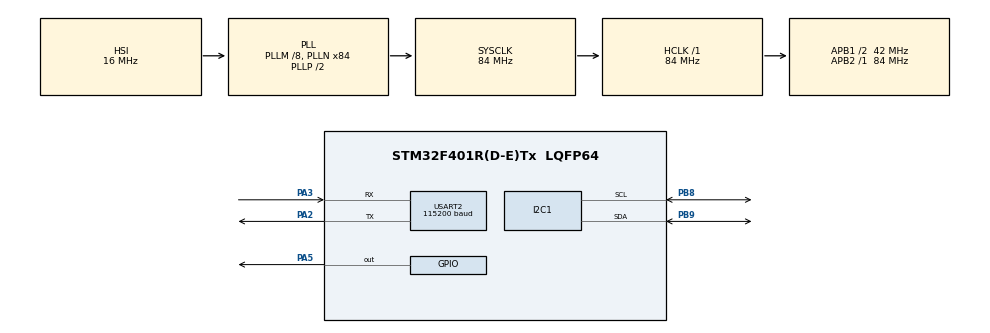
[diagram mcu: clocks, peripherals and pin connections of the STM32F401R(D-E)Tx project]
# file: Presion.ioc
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Mcu.Family=STM32F4
Mcu.Name=STM32F401R(D-E)Tx
Mcu.Package=LQFP64
NVIC.PriorityGroup=NVIC_PRIORITYGROUP_4
PA2.Mode=Asynchronous
PA2.Signal=USART2_TX
PA3.Mode=Asynchronous
PA3.Signal=USART2_RX
PA5.Signal=GPIO_Output
PB8.Mode=I2C
PB8.Signal=I2C1_SCL
PB9.Mode=I2C
PB9.Signal=I2C1_SDA
PC14-OSC32_IN.Mode=LSE-External-Oscillator
PC14-OSC32_IN.Signal=RCC_OSC32_IN
PC15-OSC32_OUT.Mode=LSE-External-Oscillator
PC15-OSC32_OUT.Signal=RCC_OSC32_OUT
PH0\ -\ OSC_IN.Mode=HSE-External-Clock-Source
PH0\ -\ OSC_IN.Signal=RCC_OSC_IN
PH1\ -\ OSC_OUT.Mode=HSE-External-Clock-Source
PH1\ -\ OSC_OUT.Signal=RCC_OSC_OUT
ProjectManager.HeapSize=0x200
ProjectManager.StackSize=0x400
ProjectManager.TargetToolchain=STM32CubeIDE
RCC.48MHZClocksFreq_Value=42000000
RCC.AHBFreq_Value=84000000
RCC.APB1CLKDivider=RCC_HCLK_DIV2
RCC.APB1Freq_Value=42000000
RCC.APB1TimFreq_Value=84000000
RCC.APB2Freq_Value=84000000
RCC.APB2TimFreq_Value=84000000
RCC.CortexFreq_Value=84000000
RCC.HCLKFreq_Value=84000000
RCC.HSE_VALUE=25000000
RCC.HSI_VALUE=16000000
RCC.PLLM=8
RCC.PLLN=84
RCC.SYSCLKFreq_VALUE=84000000
RCC.SYSCLKSource=RCC_SYSCLKSOURCE_PLLCLK
RCC.VCOOutputFreq_Value=168000000
USART2.BaudRate=115200
USART2.VirtualMode=VM_ASYNC
board=custom

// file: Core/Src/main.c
/* USER CODE BEGIN Header */
/**
  ******************************************************************************
  * @file           : main.c
  * @brief          : Main program body
  ******************************************************************************
  * @attention
  *
  * Copyright (c) 2023 STMicroelectronics.
  * All rights reserved.
  *
  * This software is licensed under terms that can be found in the LICENSE file
  * in the root directory of this software component.
  * If no LICENSE file comes with this software, it is provided AS-IS.
  *
  ******************************************************************************
  */
/* USER CODE END Header */
#include "main.h"

/* USER CODE BEGIN Includes */
#include "bmp280.h"
#include <stdint.h>
#include <stdio.h>
#include <stdbool.h>
#include <stdlib.h>
#include <string.h>

/* USER CODE END Includes */

I2C_HandleTypeDef hi2c1;
UART_HandleTypeDef huart2;

/* USER CODE BEGIN PV */
BMP280_HandleTypedef bmp280;

float pressure, temperature, humidity;

uint16_t size;
uint8_t Data[256];
/* USER CODE END PV */

void SystemClock_Config(void);
static void MX_GPIO_Init(void);
static void MX_USART2_UART_Init(void);
static void MX_I2C1_Init(void);

int main(void)
{

  /* MCU Configuration--------------------------------------------------------*/

  /* Reset of all peripherals, Initializes the Flash interface and the Systick. */
  HAL_Init();

  /* Configure the system clock */
  SystemClock_Config();

  /* Initialize all configured peripherals */
  MX_GPIO_Init();
  MX_USART2_UART_Init();
  MX_I2C1_Init();
  /* USER CODE BEGIN 2 */

  bmp280_init_default_params(&bmp280.params);
	bmp280.addr = BMP280_I2C_ADDRESS_0;
	bmp280.i2c = &hi2c1;

	while (!bmp280_init(&bmp280, &bmp280.params)) {
	size = sprintf((char *)Data, "B\n");
	HAL_UART_Transmit(&huart2, Data, size, HAL_MAX_DELAY);
	}
	bool bme280p = bmp280.id == BME280_CHIP_ID;
	size = sprintf((char *)Data, "BMP280: found %s\n", bme280p ? "BME280" : "BMP280");
		HAL_UART_Transmit(&huart2, Data, size, 1000);

  /* USER CODE END 2 */

  /* Infinite loop */
  while (1)
  {

    /* USER CODE BEGIN 3 */
	  HAL_Delay(100);
/*
	  while (!bmp280_read_float(&bmp280, &temperature, &pressure, &humidity)) {
	  			size = sprintf((char *)Data,"Temperature/pressure reading failed\r\n");
	  			HAL_UART_Transmit(&huart2, Data, size, 1000);
	  		}
	  		*/
	  bmp280_read_float(&bmp280, &temperature, &pressure, &humidity);
	  		size = sprintf((char *)Data,"Pressure: %.2f Pa, Temperature: %.2f \r\n",pressure, temperature);
	  		HAL_UART_Transmit(&huart2, Data, size, 1000);

  }
  /* USER CODE END 3 */
}

void SystemClock_Config(void)
{
  RCC_OscInitTypeDef RCC_OscInitStruct = {0};
  RCC_ClkInitTypeDef RCC_ClkInitStruct = {0};

  /** Configure the main internal regulator output voltage
  */
  __HAL_RCC_PWR_CLK_ENABLE();
  __HAL_PWR_VOLTAGESCALING_CONFIG(PWR_REGULATOR_VOLTAGE_SCALE2);

  /** Initializes the RCC Oscillators according to the specified parameters
  * in the RCC_OscInitTypeDef structure.
  */
  RCC_OscInitStruct.OscillatorType = RCC_OSCILLATORTYPE_HSI;
  RCC_OscInitStruct.HSIState = RCC_HSI_ON;
  RCC_OscInitStruct.HSICalibrationValue = RCC_HSICALIBRATION_DEFAULT;
  RCC_OscInitStruct.PLL.PLLState = RCC_PLL_ON;
  RCC_OscInitStruct.PLL.PLLSource = RCC_PLLSOURCE_HSI;
  RCC_OscInitStruct.PLL.PLLM = 8;
  RCC_OscInitStruct.PLL.PLLN = 84;
  RCC_OscInitStruct.PLL.PLLP = RCC_PLLP_DIV2;
  RCC_OscInitStruct.PLL.PLLQ = 4;
  if (HAL_RCC_OscConfig(&RCC_OscInitStruct) != HAL_OK)
  {
    Error_Handler();
  }

  /** Initializes the CPU, AHB and APB buses clocks
  */
  RCC_ClkInitStruct.ClockType = RCC_CLOCKTYPE_HCLK|RCC_CLOCKTYPE_SYSCLK
                              |RCC_CLOCKTYPE_PCLK1|RCC_CLOCKTYPE_PCLK2;
  RCC_ClkInitStruct.SYSCLKSource = RCC_SYSCLKSOURCE_PLLCLK;
  RCC_ClkInitStruct.AHBCLKDivider = RCC_SYSCLK_DIV1;
  RCC_ClkInitStruct.APB1CLKDivider = RCC_HCLK_DIV2;
  RCC_ClkInitStruct.APB2CLKDivider = RCC_HCLK_DIV1;

  if (HAL_RCC_ClockConfig(&RCC_ClkInitStruct, FLASH_LATENCY_2) != HAL_OK)
  {
    Error_Handler();
  }
}

static void MX_I2C1_Init(void)
{

  hi2c1.Instance = I2C1;
  hi2c1.Init.ClockSpeed = 100000;
  hi2c1.Init.DutyCycle = I2C_DUTYCYCLE_2;
  hi2c1.Init.OwnAddress1 = 0;
  hi2c1.Init.AddressingMode = I2C_ADDRESSINGMODE_7BIT;
  hi2c1.Init.DualAddressMode = I2C_DUALADDRESS_DISABLE;
  hi2c1.Init.OwnAddress2 = 0;
  hi2c1.Init.GeneralCallMode = I2C_GENERALCALL_DISABLE;
  hi2c1.Init.NoStretchMode = I2C_NOSTRETCH_DISABLE;
  if (HAL_I2C_Init(&hi2c1) != HAL_OK)
  {
    Error_Handler();
  }

}

static void MX_USART2_UART_Init(void)
{

  huart2.Instance = USART2;
  huart2.Init.BaudRate = 115200;
  huart2.Init.WordLength = UART_WORDLENGTH_8B;
  huart2.Init.StopBits = UART_STOPBITS_1;
  huart2.Init.Parity = UART_PARITY_NONE;
  huart2.Init.Mode = UART_MODE_TX_RX;
  huart2.Init.HwFlowCtl = UART_HWCONTROL_NONE;
  huart2.Init.OverSampling = UART_OVERSAMPLING_16;
  if (HAL_UART_Init(&huart2) != HAL_OK)
  {
    Error_Handler();
  }

}

static void MX_GPIO_Init(void)
{
  GPIO_InitTypeDef GPIO_InitStruct = {0};

  /* GPIO Ports Clock Enable */
  __HAL_RCC_GPIOC_CLK_ENABLE();
  __HAL_RCC_GPIOH_CLK_ENABLE();
  __HAL_RCC_GPIOA_CLK_ENABLE();
  __HAL_RCC_GPIOB_CLK_ENABLE();

  /*Configure GPIO pin Output Level */
  HAL_GPIO_WritePin(GPIOA, GPIO_PIN_5, GPIO_PIN_RESET);

  /*Configure GPIO pin : PA5 */
  GPIO_InitStruct.Pin = GPIO_PIN_5;
  GPIO_InitStruct.Mode = GPIO_MODE_OUTPUT_PP;
  GPIO_InitStruct.Pull = GPIO_NOPULL;
  GPIO_InitStruct.Speed = GPIO_SPEED_FREQ_LOW;
  HAL_GPIO_Init(GPIOA, &GPIO_InitStruct);

}

void Error_Handler(void)
{
  __disable_irq();
  while (1)
  {
  }
}
